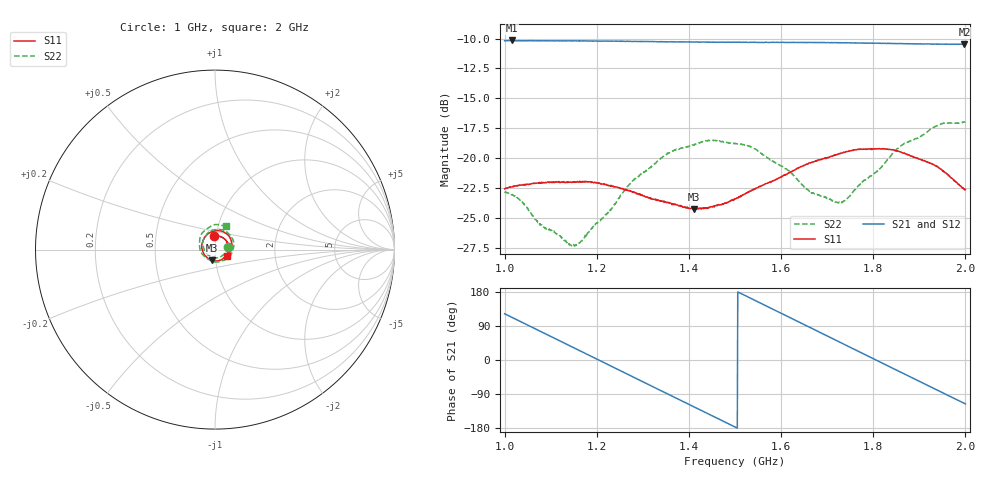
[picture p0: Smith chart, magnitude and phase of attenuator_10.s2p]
#  HZ  S  DB  R  50.00
! Rohde & Schwarz Vector Network Analyzer
! Rohde-Schwarz,ZNB8-4Port,1311601044102961,2.82
! Created: UTC 3/4/2022, 3:52:07 PM
! freq[Hz]  db:S11  ang:S11  db:S21  ang:S21  db:S12  ang:S12  db:S22  ang:S22
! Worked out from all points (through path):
!   1001 points, 1 GHz to 2 GHz, reference 50 ohm
!   highest |S21| = -10.16 dB at 1.016 GHz (marker M1); lowest = -10.5 dB at 1.998 GHz (marker M2)
!   group delay of S21, straight-line fit = 1.66 ns
!   lowest |S11| = -24.3 dB at 1.411 GHz (marker M3), VSWR 1.13, Z = 48.1 - j5.69 ohm
!   |S11| at or under -10 dB: start of sweep to end of sweep
!   |S22| runs from -27.3 to -16.9 dB; largest |S21 - S12| = 0.0012
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1e9  -22.56 92.7  -10.19 121.9  -10.18 122.1  -22.79 12.6
1.016e9  -22.39 86.4  -10.16 112.5  -10.18 112.5  -23.04 2.9
1.088e9  -22.01 59.6  -10.19 69.5  -10.19 69.5  -25.87 -48.9
1.142e9  -22.01 38.5  -10.19 37.1  -10.20 37.1  -27.24 -98.9
1.167e9  -21.98 28.7  -10.20 22.2  -10.19 22.2  -26.91 -127.9
1.205e9  -22.05 13.0  -10.22 -0.6  -10.21 -0.6  -25.26 -161.5
1.244e9  -22.41 -5.3  -10.23 -23.9  -10.22 -23.8  -23.54 167.1
1.293e9  -23.03 -30.9  -10.25 -53.2  -10.24 -53.2  -21.41 139.2
1.334e9  -23.49 -55.4  -10.27 -77.7  -10.26 -77.7  -20.17 116.4
1.372e9  -23.87 -79.4  -10.28 -100.5  -10.27 -100.3  -19.29 98.9
1.411e9  -24.26 -105.5  -10.30 -123.7  -10.30 -123.7  -18.88 80.0
1.457e9  -23.95 -138.1  -10.31 -151.1  -10.30 -151.1  -18.51 58.9
1.5e9  -23.41 -165.0  -10.32 -176.8  -10.30 -176.7  -18.76 37.2
1.545e9  -22.53 169.5  -10.32 156.4  -10.31 156.3  -19.26 15.2
1.593e9  -21.69 145.8  -10.32 127.6  -10.33 127.7  -20.46 -13.8
1.667e9  -20.34 114.4  -10.34 83.3  -10.33 83.3  -22.88 -68.2
1.733e9  -19.57 87.8  -10.36 43.6  -10.34 43.7  -23.65 -130.0
1.785e9  -19.21 67.3  -10.38 12.5  -10.37 12.6  -21.72 -175.6
1.834e9  -19.26 47.2  -10.41 -16.8  -10.41 -16.8  -19.99 148.3
1.921e9  -20.39 9.1  -10.46 -68.7  -10.45 -68.7  -17.68 101.9
1.998e9  -22.62 -27.7  -10.50 -114.7  -10.49 -114.6  -16.97 66.2
2e9  -22.59 -28.7  -10.49 -115.8  -10.49 -115.8  -16.94 64.9
